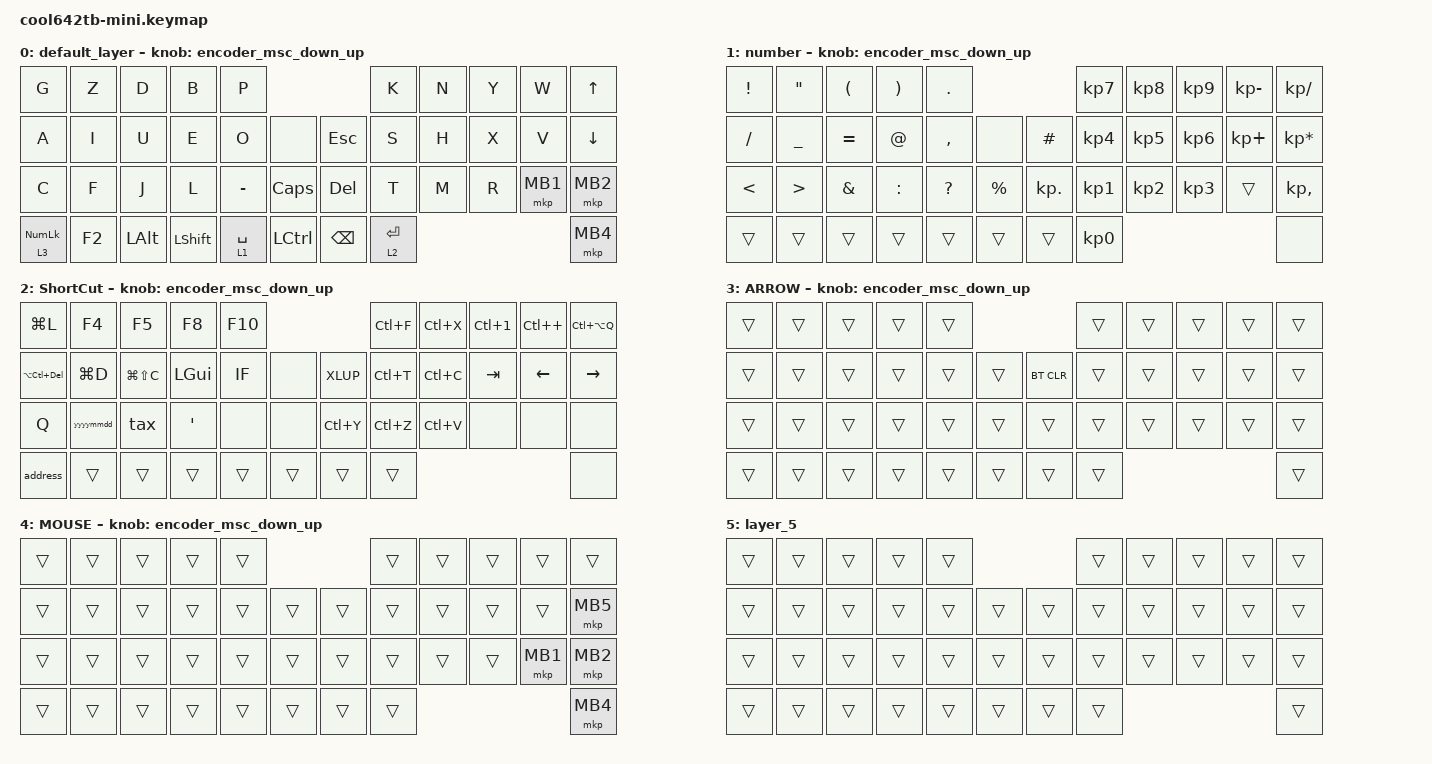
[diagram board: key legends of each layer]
#include <behaviors.dtsi>
#include <dt-bindings/zmk/bt.h>
#include <dt-bindings/zmk/keys.h>
#include <dt-bindings/zmk/pointing.h>

#define MOUSE 4
#define SCROLL 5
#define NUM 6
#define ZMK_POINTING_DEFAULT_SCRL_VAL 80

&mt {
    flavor = "balanced";
    quick-tap-ms = <0>;
};

/ {
    /* ============================================================
     * 1. macros（最優先で定義：Remap で認識される）
     * ============================================================ */

    macros {
        compatible = "zmk,macros";

        xlookup_macro: macro {
            label = "XLOOKUP_MACRO";
            bindings = <
                &kp EQUAL
                &kp X
                &kp L
                &kp O
                &kp O
                &kp K
                &kp U
                &kp P
                &kp LS(N9)   /* "(" */
            >;
        };

        IF: new_macro {
            compatible = "zmk,behavior-macro";
            #binding-cells = <0>;
            bindings = <&kp EQUAL &kp LS(I) &kp LS(F) &kp LEFT_PARENTHESIS>;
            label = "NEW_MACRO";
        };

        address: address {
            compatible = "zmk,behavior-macro";
            #binding-cells = <0>;
            bindings = <&kp S &kp H &kp O &kp T &kp A &kp DOT &kp K &kp U &kp R &kp O &kp D &kp A &kp AT_SIGN &kp P &kp R &kp O &kp S &kp U &kp S &kp DOT &kp C &kp O &kp DOT &kp J &kp P>;
            label = "ADDRESS";
        };

        tax: tax {
            compatible = "zmk,behavior-macro";
            #binding-cells = <0>;
            bindings = <&kp EQUAL &kp G &kp N6 &kp KP_ASTERISK &kp LEFT_PARENTHESIS &kp N1 &kp KP_PLUS &kp K &kp N6 &kp RIGHT_PARENTHESIS>;
            label = "TAX";
        };

        yyyymmdd: yyyymmdd {
            compatible = "zmk,behavior-macro";
            #binding-cells = <0>;
            bindings = <&kp Y &kp Y &kp Y &kp Y &kp FSLH &kp M &kp M &kp FSLH &kp D &kp D>;
            label = "YYYYMMDD";
        };

        XLUP: XLUP {
            compatible = "zmk,behavior-macro";
            #binding-cells = <0>;
            bindings = <&kp EQUAL &kp LS(X) &kp LS(L) &kp LS(O) &kp LS(O) &kp LS(K) &kp LS(U) &kp LS(P) &kp LEFT_PARENTHESIS>;
            label = "XLUP";
        };
    };

    /* ============================================================
     * 2. behaviors（macros の後に置く必須）
     * ============================================================ */

    behaviors {
        encoder_msc_down_up: encoder_msc_down_up {
            compatible = "zmk,behavior-sensor-rotate";
            label = "ENCODER_MSC_DOWN_UP";
            #sensor-binding-cells = <0>;
            bindings = <&msc SCRL_UP>, <&msc SCRL_DOWN>;

            tap-ms = <20>;
        };
    };

    /* ============================================================
     * 3. combos（behaviors の後ならどこでもOK）
     * ============================================================ */

    combos {
        compatible = "zmk,combos";

        shift_tab {
            bindings = <&kp LANG2>;
            key-positions = <12 13>;
        };

        lang {
            bindings = <&kp LANG1>;
            key-positions = <18 19>;
        };
    };

    /* ============================================================
     * 4. keymap（最後でOK）
     * ============================================================ */

    keymap {
        compatible = "zmk,keymap";

        /* --------------------------
         * LAYER 0
         * -------------------------- */

        default_layer {
            bindings = <
&kp G             &kp Z   &kp D         &kp B      &kp P                                      &kp K        &kp N  &kp Y  &kp W     &kp UP_ARROW
&kp A             &kp I   &kp U         &kp E      &kp O        &none          &kp ESCAPE     &kp S        &kp H  &kp X  &kp V     &kp DOWN
&kp C             &kp F   &kp J         &kp L      &kp MINUS    &kp CAPS       &kp DELETE     &kp T        &kp M  &kp R  &mkp MB1  &mkp MB2
&lt 3 KP_NUMLOCK  &kp F2  &kp LEFT_ALT  &kp LSHFT  &lt 1 SPACE  &kp LCTRL      &kp BACKSPACE  &lt 2 ENTER                          &mkp MB4
            >;

            sensor-bindings = <&encoder_msc_down_up>;
        };

        number {
            bindings = <
&kp EXCLAMATION  &kp DOUBLE_QUOTES  &kp LEFT_PARENTHESIS  &kp RIGHT_PARENTHESIS  &kp PERIOD                                 &kp KP_NUMBER_7  &kp KP_NUMBER_8  &kp KP_NUMBER_9  &kp KP_MINUS  &kp KP_SLASH
&kp SLASH        &kp UNDER          &kp EQUAL             &kp AT_SIGN            &kp COMMA     &none            &kp HASH    &kp KP_NUMBER_4  &kp KP_NUMBER_5  &kp KP_NUMBER_6  &kp KP_PLUS   &kp KP_ASTERISK
&kp LESS_THAN    &kp GREATER_THAN   &kp AMPERSAND         &kp COLON              &kp QUESTION  &kp PERCENT      &kp KP_DOT  &kp KP_NUMBER_1  &kp KP_NUMBER_2  &kp KP_NUMBER_3  &trans        &kp KP_COMMA
&trans           &trans             &trans                &trans                 &trans        &trans           &trans      &kp KP_NUMBER_0                                                  &none
            >;

            sensor-bindings = <&encoder_msc_down_up>;
        };

        ShortCut {
            bindings = <
&kp LG(L)        &kp F4     &kp F5         &kp F8    &kp F10                         &kp LC(F)  &kp LC(X)  &kp LC(NUMBER_1)  &kp LC(PLUS)    &kp LC(LA(Q))
&kp LA(LC(DEL))  &kp LG(D)  &kp LG(LS(C))  &kp LGUI  &IF      &none       &XLUP      &kp LC(T)  &kp LC(C)  &kp TAB           &kp LEFT_ARROW  &kp RIGHT_ARROW
&kp Q            &yyyymmdd  &tax           &kp SQT   &none    &none       &kp LC(Y)  &kp LC(Z)  &kp LC(V)  &none             &none           &none
&address         &trans     &trans         &trans    &trans   &trans      &trans     &trans                                                  &none
            >;

            sensor-bindings = <&encoder_msc_down_up>;
        };

        ARROW {
            bindings = <
&trans  &trans  &trans  &trans  &trans                          &trans  &trans  &trans  &trans  &trans
&trans  &trans  &trans  &trans  &trans  &trans      &bt BT_CLR  &trans  &trans  &trans  &trans  &trans
&trans  &trans  &trans  &trans  &trans  &trans      &trans      &trans  &trans  &trans  &trans  &trans
&trans  &trans  &trans  &trans  &trans  &trans      &trans      &trans                          &trans
            >;

            sensor-bindings = <&encoder_msc_down_up>;
        };

        MOUSE {
            bindings = <
&trans  &trans  &trans  &trans  &trans                      &trans  &trans  &trans  &trans    &trans
&trans  &trans  &trans  &trans  &trans  &trans      &trans  &trans  &trans  &trans  &trans    &mkp MB5
&trans  &trans  &trans  &trans  &trans  &trans      &trans  &trans  &trans  &trans  &mkp MB1  &mkp MB2
&trans  &trans  &trans  &trans  &trans  &trans      &trans  &trans                            &mkp MB4
            >;

            sensor-bindings = <&encoder_msc_down_up>;
        };

        layer_5 {
            bindings = <
&trans  &trans  &trans  &trans  &trans                      &trans  &trans  &trans  &trans  &trans
&trans  &trans  &trans  &trans  &trans  &trans      &trans  &trans  &trans  &trans  &trans  &trans
&trans  &trans  &trans  &trans  &trans  &trans      &trans  &trans  &trans  &trans  &trans  &trans
&trans  &trans  &trans  &trans  &trans  &trans      &trans  &trans                          &trans
            >;
        };

        /* --------------------------
         * LAYER 5 (SCROLL)
         * -------------------------- */
        /* layer 6 & 7 はそのまま */
    };
};
